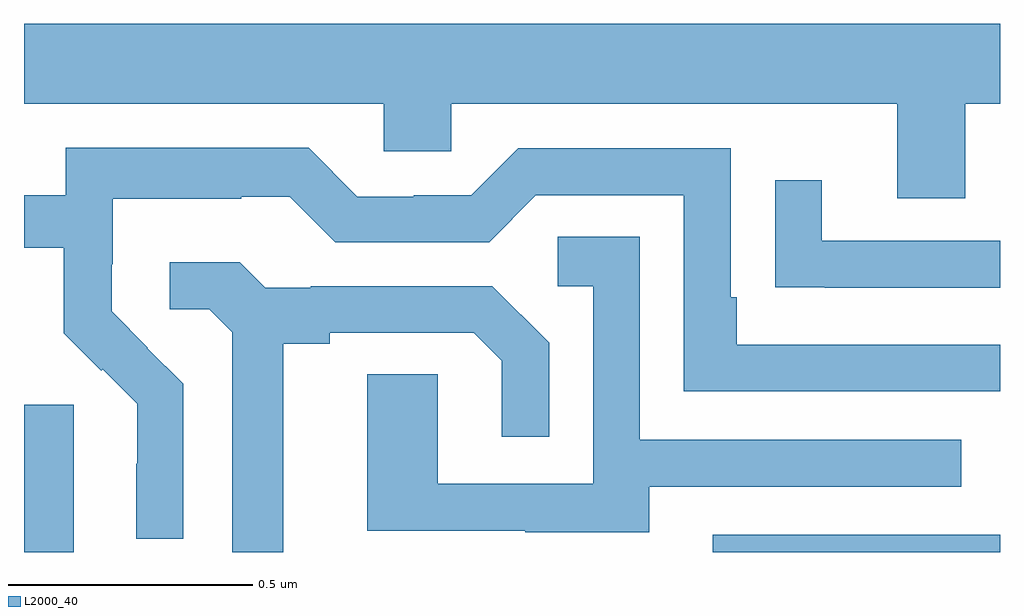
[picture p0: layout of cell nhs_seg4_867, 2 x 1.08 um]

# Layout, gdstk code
import gdstk
lib = gdstk.Library(unit=1e-6, precision=1e-09)
def R(c, l, rs):  # rectangles x0, y0, x1, y1
    for r in rs: c.add(gdstk.rectangle(r[:2], r[2:], *l))
def P(c, l, *ps):  # polygons
    for p in ps: c.add(gdstk.Polygon(p, *l))
L2000_40 = (2000, 40)

nhs_seg4_867 = lib.new_cell('nhs_seg4_867')
R(nhs_seg4_867, L2000_40, [(121,795.9,121.102,796.203), (122.411,795.9,123,795.936)])
P(nhs_seg4_867, L2000_40, [(122.929,796.82),(123,796.82),(123,796.984),(121,796.984),(121,796.82),(121.737,796.82),(121.737,796.722),(121.875,796.722),(121.875,796.82),(122.789,796.82),(122.789,796.626),(122.929,796.626)],
  [(121.326,796.246),(121.253,796.319),(121.254,796.32),(121.18,796.394),(121.18,796.491),(121.182,796.491),(121.182,796.625),(121.445,796.625),(121.445,796.629),(121.545,796.629),(121.638,796.536),(121.953,796.536),(122.049,796.632),(122.352,796.632),(122.352,796.23),(123,796.23),(123,796.326),(122.461,796.326),(122.461,796.423),(122.448,796.423),(122.448,796.728),(122.013,796.728),(121.917,796.632),(121.799,796.632),(121.799,796.629),(121.683,796.629),(121.583,796.729),(121.086,796.729),(121.086,796.632),(121,796.632),(121,796.524),(121.081,796.524),(121.081,796.349),(121.158,796.272),(121.161,796.275),(121.232,796.205),(121.232,796.082),(121.23,796.082),(121.23,795.928),(121.326,795.928)],
  [(123,796.539),(122.635,796.539),(122.635,796.663),(122.539,796.663),(122.539,796.444),(122.641,796.444),(122.641,796.443),(123,796.443)],
  [(122.281,796.035),(122.921,796.035),(122.921,796.131),(122.262,796.131),(122.262,796.547),(122.094,796.547),(122.094,796.446),(122.166,796.446),(122.166,796.041),(121.848,796.041),(121.848,796.265),(121.703,796.265),(121.703,795.945),(122.027,795.945),(122.027,795.941),(122.281,795.941)],
  [(121.531,796.328),(121.627,796.328),(121.627,796.35),(121.922,796.35),(121.979,796.293),(121.979,796.137),(122.076,796.137),(122.076,796.33),(121.96,796.446),(121.588,796.446),(121.588,796.443),(121.494,796.443),(121.442,796.495),(121.299,796.495),(121.299,796.398),(121.38,796.398),(121.427,796.351),(121.427,795.9),(121.531,795.9)])

lib.write_gds('nhs_seg4_867.gds')
